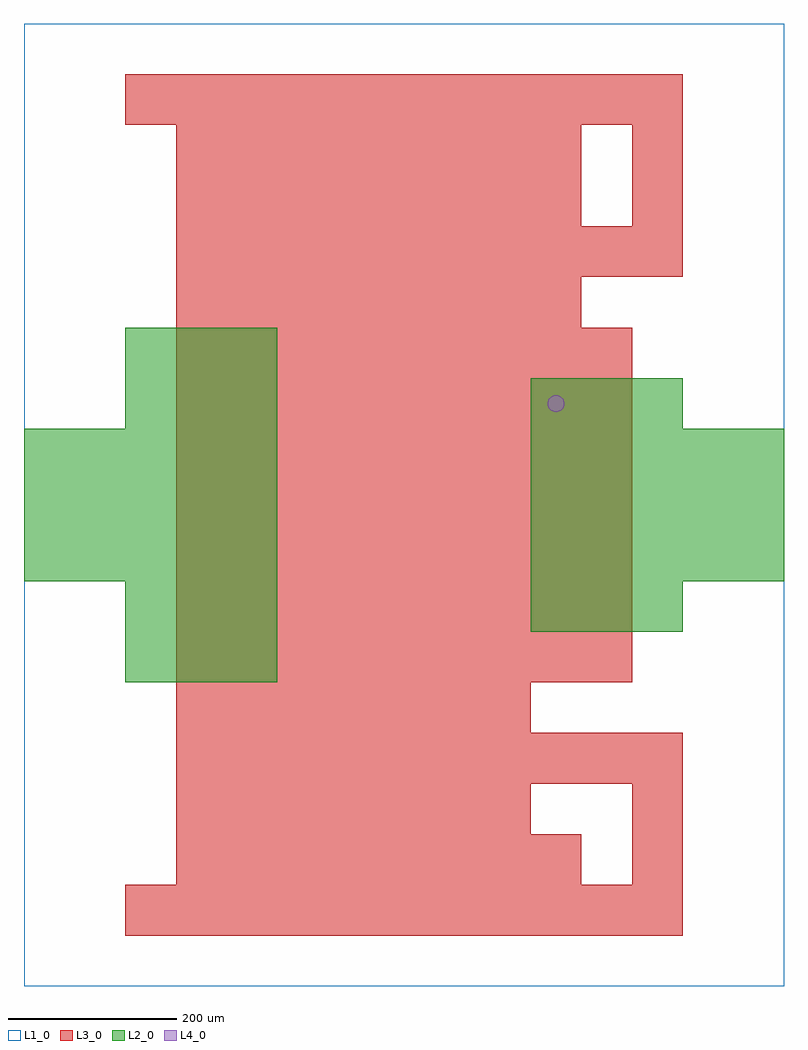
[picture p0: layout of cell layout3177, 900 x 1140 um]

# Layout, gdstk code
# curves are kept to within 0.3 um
import gdstk
lib = gdstk.Library(unit=1e-6, precision=1e-09)
def R(c, l, rs):  # rectangles x0, y0, x1, y1
    for r in rs: c.add(gdstk.rectangle(r[:2], r[2:], *l))
def A(c, l, x, y, w, h, nx, ny, dx, dy):  # array of equal rectangles
    R(c, l, [(x+i*dx, y+j*dy, x+i*dx+w, y+j*dy+h) for i in range(nx) for j in range(ny)])
def P(c, l, *ps):  # polygons
    for p in ps: c.add(gdstk.Polygon(p, *l))
L1_0 = (1, 0)
L2_0 = (2, 0)
L3_0 = (3, 0)
L4_0 = (4, 0)

layout3177 = lib.new_cell('layout3177')
R(layout3177, L1_0, [(0,0,900,1140)])
A(layout3177, L2_0, 120, 360, 60, 60, 3, 2, 60, 60)
A(layout3177, L2_0, 600, 420, 60, 60, 3, 2, 60, 240)
A(layout3177, L2_0, 0, 480, 60, 60, 5, 3, 60, 60)
A(layout3177, L2_0, 600, 480, 60, 60, 5, 3, 60, 60)
A(layout3177, L2_0, 120, 660, 60, 60, 3, 2, 60, 60)
A(layout3177, L3_0, 120, 60, 60, 60, 11, 2, 60, 960)
A(layout3177, L3_0, 180, 120, 60, 60, 8, 2, 60, 660)
A(layout3177, L3_0, 180, 180, 60, 60, 7, 2, 60, 120)
A(layout3177, L3_0, 180, 240, 60, 60, 10, 2, 60, 600)
A(layout3177, L3_0, 180, 360, 60, 60, 9, 7, 60, 60)
A(layout3177, L3_0, 180, 900, 60, 60, 8, 2, 60, 60)
R(layout3177, L3_0, [(720,120,780,180), (720,180,780,240), (720,900,780,960), (720,960,780,1020)])
P(layout3177, L4_0, [(640,690),(639.239,693.827),(637.071,697.071),(633.827,699.239),(630,700),(626.173,699.239),(622.929,697.071),(620.761,693.827),(620,690),(620.761,686.173),(622.929,682.929),(626.173,680.761),(630,680),(633.827,680.761),(637.071,682.929),(639.239,686.173)])

lib.write_gds('layout3177.gds')
